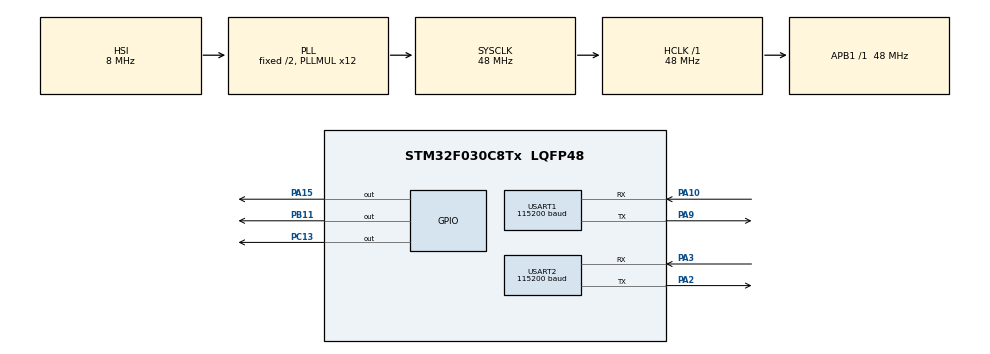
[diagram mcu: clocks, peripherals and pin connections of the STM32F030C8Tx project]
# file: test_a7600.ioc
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Dma.Request0=USART2_RX
Dma.Request1=USART2_TX
Dma.Request2=USART1_RX
Dma.Request3=USART1_TX
Dma.USART1_RX.2.Direction=DMA_PERIPH_TO_MEMORY
Dma.USART1_RX.2.Instance=DMA1_Channel3
Dma.USART1_RX.2.MemDataAlignment=DMA_MDATAALIGN_BYTE
Dma.USART1_RX.2.MemInc=DMA_MINC_ENABLE
Dma.USART1_RX.2.Mode=DMA_CIRCULAR
Dma.USART1_RX.2.PeriphDataAlignment=DMA_PDATAALIGN_BYTE
Dma.USART1_RX.2.PeriphInc=DMA_PINC_DISABLE
Dma.USART1_RX.2.Priority=DMA_PRIORITY_LOW
Dma.USART1_TX.3.Direction=DMA_MEMORY_TO_PERIPH
Dma.USART1_TX.3.Instance=DMA1_Channel2
Dma.USART1_TX.3.MemDataAlignment=DMA_MDATAALIGN_BYTE
Dma.USART1_TX.3.MemInc=DMA_MINC_ENABLE
Dma.USART1_TX.3.Mode=DMA_NORMAL
Dma.USART1_TX.3.PeriphDataAlignment=DMA_PDATAALIGN_BYTE
Dma.USART1_TX.3.PeriphInc=DMA_PINC_DISABLE
Dma.USART1_TX.3.Priority=DMA_PRIORITY_LOW
Dma.USART2_RX.0.Direction=DMA_PERIPH_TO_MEMORY
Dma.USART2_RX.0.Instance=DMA1_Channel5
Dma.USART2_RX.0.MemDataAlignment=DMA_MDATAALIGN_BYTE
Dma.USART2_RX.0.MemInc=DMA_MINC_ENABLE
Dma.USART2_RX.0.Mode=DMA_CIRCULAR
Dma.USART2_RX.0.PeriphDataAlignment=DMA_PDATAALIGN_BYTE
Dma.USART2_RX.0.PeriphInc=DMA_PINC_DISABLE
Dma.USART2_RX.0.Priority=DMA_PRIORITY_HIGH
Dma.USART2_TX.1.Direction=DMA_MEMORY_TO_PERIPH
Dma.USART2_TX.1.Instance=DMA1_Channel4
Dma.USART2_TX.1.MemDataAlignment=DMA_MDATAALIGN_BYTE
Dma.USART2_TX.1.MemInc=DMA_MINC_ENABLE
Dma.USART2_TX.1.Mode=DMA_NORMAL
Dma.USART2_TX.1.PeriphDataAlignment=DMA_PDATAALIGN_BYTE
Dma.USART2_TX.1.PeriphInc=DMA_PINC_DISABLE
Dma.USART2_TX.1.Priority=DMA_PRIORITY_HIGH
IWDG.Prescaler=IWDG_PRESCALER_256
IWDG.Reload=780
Mcu.Family=STM32F0
Mcu.Name=STM32F030C8Tx
Mcu.Package=LQFP48
NVIC.DMA1_Channel2_3_IRQn=true\:0\:0\:false\:false\:true\:false\:true\:true
NVIC.DMA1_Channel4_5_IRQn=true\:1\:0\:true\:false\:true\:false\:true\:true
NVIC.USART1_IRQn=true\:0\:0\:false\:false\:true\:true\:true\:true
NVIC.USART2_IRQn=true\:1\:0\:true\:false\:true\:true\:true\:true
PA10.Mode=Asynchronous
PA10.Signal=USART1_RX
PA13.Mode=Serial_Wire
PA13.Signal=SYS_SWDIO
PA14.Mode=Serial_Wire
PA14.Signal=SYS_SWCLK
PA15.Signal=GPIO_Output
PA2.Mode=Asynchronous
PA2.Signal=USART2_TX
PA3.Mode=Asynchronous
PA3.Signal=USART2_RX
PA9.Mode=Asynchronous
PA9.Signal=USART1_TX
PB11.Signal=GPIO_Output
PC13.Signal=GPIO_Output
PF0-OSC_IN.Mode=HSE-External-Oscillator
PF0-OSC_IN.Signal=RCC_OSC_IN
PF1-OSC_OUT.Mode=HSE-External-Oscillator
PF1-OSC_OUT.Signal=RCC_OSC_OUT
ProjectManager.HeapSize=0x200
ProjectManager.StackSize=0x400
ProjectManager.TargetToolchain=MDK-ARM V5.32
RCC.AHBFreq_Value=48000000
RCC.APB1Freq_Value=48000000
RCC.APB1TimFreq_Value=48000000
RCC.HCLKFreq_Value=48000000
RCC.PLLMUL=RCC_PLL_MUL12
RCC.SYSCLKFreq_VALUE=48000000
RCC.SYSCLKSource=RCC_SYSCLKSOURCE_PLLCLK
USART1.BaudRate=115200
USART1.VirtualMode-Asynchronous=VM_ASYNC
USART2.BaudRate=115200
USART2.VirtualMode-Asynchronous=VM_ASYNC
VP_IWDG_VS_IWDG.Mode=IWDG_Activate
board=custom

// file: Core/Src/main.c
/* USER CODE BEGIN Header */
/**
  ******************************************************************************
  * @file           : main.c
  * @brief          : Main program body
  ******************************************************************************
  * @attention
  *
  * Copyright (c) 2026 STMicroelectronics.
  * All rights reserved.
  *
  * This software is licensed under terms that can be found in the LICENSE file
  * in the root directory of this software component.
  * If no LICENSE file comes with this software, it is provided AS-IS.
  *
  ******************************************************************************
  */
/* USER CODE END Header */
#include "main.h"

/* USER CODE BEGIN Includes */
#include "string.h"
#include "debug_log.h"
#include "uart_dma.h"
#include "app.h"
/* USER CODE END Includes */

IWDG_HandleTypeDef hiwdg;

UART_HandleTypeDef huart1;
UART_HandleTypeDef huart2;
DMA_HandleTypeDef hdma_usart1_rx;
DMA_HandleTypeDef hdma_usart1_tx;
DMA_HandleTypeDef hdma_usart2_rx;
DMA_HandleTypeDef hdma_usart2_tx;

/* USER CODE BEGIN PV */
/* UART DMA handle for A7600 SIM module */
UART_DMA_Handle_t sim_uart;
/* UART DMA handle for Telemetry (MAVLink) */
UART_DMA_Handle_t telem_uart;

/* Application handle */
App_Handle_t app;

/*IWDG Counter*/
uint32_t iwdg_tick = 0;
/* USER CODE END PV */

void SystemClock_Config(void);
static void MX_GPIO_Init(void);
static void MX_DMA_Init(void);
static void MX_USART2_UART_Init(void);
static void MX_IWDG_Init(void);
static void MX_USART1_UART_Init(void);

int main(void)
{

  /* MCU Configuration--------------------------------------------------------*/

  /* Reset of all peripherals, Initializes the Flash interface and the Systick. */
  HAL_Init();

  /* Configure the system clock */
  SystemClock_Config();

  /* Initialize all configured peripherals */
  MX_GPIO_Init();
  MX_DMA_Init();
  MX_USART2_UART_Init();
  MX_IWDG_Init();
  MX_USART1_UART_Init();
  /* USER CODE BEGIN 2 */

  /* Log init (will be empty if disabled) */
  Debug_Init();
  LOG_INFO("System Booting - Wait 5s...");

	GPIOB->ODR &= ~(0x01 << 11);
  GPIOC->ODR &= ~(0x01 << 13);
	GPIOA->ODR &= ~(0x01 << 15);

	HAL_Delay(500);

  HAL_IWDG_Refresh(&hiwdg);
  /* Set GPIO pins high - Power on A7600 module */
  GPIOB->ODR |= (0x01 << 11);
  GPIOC->ODR |= (0x01 << 13);
	GPIOA->ODR |= (0x01 << 15);

  /* Wait for module to boot */
  //HAL_Delay(5000);

  LOG_INFO("Initializing Modules...");

  /* Initialize UART DMA with circular RX for A7600 SIM module */
  UART_DMA_Init(&sim_uart, &huart2);

  /* Initialize Application layer with MQTT */
  App_Init(&app, &sim_uart);

	iwdg_tick = HAL_GetTick();
  /* USER CODE END 2 */

  /* Infinite loop */
  /* USER CODE BEGIN WHILE */

  while (1)
  {
    /* Run application - handles MQTT connection, publishing, etc */
    App_Run(&app);
		if(HAL_GetTick() - iwdg_tick >= 1000)
		{
			HAL_IWDG_Refresh(&hiwdg);
			iwdg_tick = HAL_GetTick();
		}
    /* USER CODE END WHILE */

  }
}

void SystemClock_Config(void)
{
  RCC_OscInitTypeDef RCC_OscInitStruct = {0};
  RCC_ClkInitTypeDef RCC_ClkInitStruct = {0};
  RCC_PeriphCLKInitTypeDef PeriphClkInit = {0};

  /** Initializes the RCC Oscillators according to the specified parameters
  * in the RCC_OscInitTypeDef structure.
  */
  RCC_OscInitStruct.OscillatorType = RCC_OSCILLATORTYPE_HSI|RCC_OSCILLATORTYPE_LSI;
  RCC_OscInitStruct.HSIState = RCC_HSI_ON;
  RCC_OscInitStruct.HSICalibrationValue = RCC_HSICALIBRATION_DEFAULT;
  RCC_OscInitStruct.LSIState = RCC_LSI_ON;
  RCC_OscInitStruct.PLL.PLLState = RCC_PLL_ON;
  RCC_OscInitStruct.PLL.PLLSource = RCC_PLLSOURCE_HSI;
  RCC_OscInitStruct.PLL.PLLMUL = RCC_PLL_MUL12;
  RCC_OscInitStruct.PLL.PREDIV = RCC_PREDIV_DIV1;
  if (HAL_RCC_OscConfig(&RCC_OscInitStruct) != HAL_OK)
  {
    Error_Handler();
  }

  /** Initializes the CPU, AHB and APB buses clocks
  */
  RCC_ClkInitStruct.ClockType = RCC_CLOCKTYPE_HCLK|RCC_CLOCKTYPE_SYSCLK
                              |RCC_CLOCKTYPE_PCLK1;
  RCC_ClkInitStruct.SYSCLKSource = RCC_SYSCLKSOURCE_PLLCLK;
  RCC_ClkInitStruct.AHBCLKDivider = RCC_SYSCLK_DIV1;
  RCC_ClkInitStruct.APB1CLKDivider = RCC_HCLK_DIV1;

  if (HAL_RCC_ClockConfig(&RCC_ClkInitStruct, FLASH_LATENCY_1) != HAL_OK)
  {
    Error_Handler();
  }
  PeriphClkInit.PeriphClockSelection = RCC_PERIPHCLK_USART1;
  PeriphClkInit.Usart1ClockSelection = RCC_USART1CLKSOURCE_PCLK1;
  if (HAL_RCCEx_PeriphCLKConfig(&PeriphClkInit) != HAL_OK)
  {
    Error_Handler();
  }
}

static void MX_IWDG_Init(void)
{

  hiwdg.Instance = IWDG;
  hiwdg.Init.Prescaler = IWDG_PRESCALER_256;
  hiwdg.Init.Window = 4095;
  hiwdg.Init.Reload = 780;
  if (HAL_IWDG_Init(&hiwdg) != HAL_OK)
  {
    Error_Handler();
  }

}

static void MX_USART1_UART_Init(void)
{

  huart1.Instance = USART1;
  huart1.Init.BaudRate = 115200;
  huart1.Init.WordLength = UART_WORDLENGTH_8B;
  huart1.Init.StopBits = UART_STOPBITS_1;
  huart1.Init.Parity = UART_PARITY_NONE;
  huart1.Init.Mode = UART_MODE_TX_RX;
  huart1.Init.HwFlowCtl = UART_HWCONTROL_NONE;
  huart1.Init.OverSampling = UART_OVERSAMPLING_16;
  huart1.Init.OneBitSampling = UART_ONE_BIT_SAMPLE_DISABLE;
  huart1.AdvancedInit.AdvFeatureInit = UART_ADVFEATURE_NO_INIT;
  if (HAL_UART_Init(&huart1) != HAL_OK)
  {
    Error_Handler();
  }

}

static void MX_USART2_UART_Init(void)
{

  huart2.Instance = USART2;
  huart2.Init.BaudRate = 115200;
  huart2.Init.WordLength = UART_WORDLENGTH_8B;
  huart2.Init.StopBits = UART_STOPBITS_1;
  huart2.Init.Parity = UART_PARITY_NONE;
  huart2.Init.Mode = UART_MODE_TX_RX;
  huart2.Init.HwFlowCtl = UART_HWCONTROL_NONE;
  huart2.Init.OverSampling = UART_OVERSAMPLING_16;
  huart2.Init.OneBitSampling = UART_ONE_BIT_SAMPLE_DISABLE;
  huart2.AdvancedInit.AdvFeatureInit = UART_ADVFEATURE_NO_INIT;
  if (HAL_UART_Init(&huart2) != HAL_OK)
  {
    Error_Handler();
  }

}

static void MX_DMA_Init(void)
{

  /* DMA controller clock enable */
  __HAL_RCC_DMA1_CLK_ENABLE();

  /* DMA interrupt init */
  /* DMA1_Channel2_3_IRQn interrupt configuration */
  HAL_NVIC_SetPriority(DMA1_Channel2_3_IRQn, 0, 0);
  HAL_NVIC_EnableIRQ(DMA1_Channel2_3_IRQn);
  /* DMA1_Channel4_5_IRQn interrupt configuration */
  HAL_NVIC_SetPriority(DMA1_Channel4_5_IRQn, 1, 0);
  HAL_NVIC_EnableIRQ(DMA1_Channel4_5_IRQn);

}

static void MX_GPIO_Init(void)
{
  GPIO_InitTypeDef GPIO_InitStruct = {0};

  /* GPIO Ports Clock Enable */
  __HAL_RCC_GPIOC_CLK_ENABLE();
  __HAL_RCC_GPIOF_CLK_ENABLE();
  __HAL_RCC_GPIOA_CLK_ENABLE();
  __HAL_RCC_GPIOB_CLK_ENABLE();

  /*Configure GPIO pin Output Level */
  HAL_GPIO_WritePin(GPIOC, GPIO_PIN_13, GPIO_PIN_RESET);

  /*Configure GPIO pin Output Level */
  HAL_GPIO_WritePin(GPIOB, GPIO_PIN_11, GPIO_PIN_RESET);

  /*Configure GPIO pin Output Level */
  HAL_GPIO_WritePin(GPIOA, GPIO_PIN_15, GPIO_PIN_RESET);

  /*Configure GPIO pin : PC13 */
  GPIO_InitStruct.Pin = GPIO_PIN_13;
  GPIO_InitStruct.Mode = GPIO_MODE_OUTPUT_PP;
  GPIO_InitStruct.Pull = GPIO_NOPULL;
  GPIO_InitStruct.Speed = GPIO_SPEED_FREQ_LOW;
  HAL_GPIO_Init(GPIOC, &GPIO_InitStruct);

  /*Configure GPIO pin : PB11 */
  GPIO_InitStruct.Pin = GPIO_PIN_11;
  GPIO_InitStruct.Mode = GPIO_MODE_OUTPUT_PP;
  GPIO_InitStruct.Pull = GPIO_NOPULL;
  GPIO_InitStruct.Speed = GPIO_SPEED_FREQ_LOW;
  HAL_GPIO_Init(GPIOB, &GPIO_InitStruct);

  /*Configure GPIO pin : PA15 */
  GPIO_InitStruct.Pin = GPIO_PIN_15;
  GPIO_InitStruct.Mode = GPIO_MODE_OUTPUT_PP;
  GPIO_InitStruct.Pull = GPIO_NOPULL;
  GPIO_InitStruct.Speed = GPIO_SPEED_FREQ_LOW;
  HAL_GPIO_Init(GPIOA, &GPIO_InitStruct);

}

/* USER CODE BEGIN 4 */

/**
 * @brief TX Complete callback - called by HAL when DMA TX finishes
 */
void HAL_UART_TxCpltCallback(UART_HandleTypeDef *huart)
{
    if (huart->Instance == USART2) {
        UART_DMA_TxCplt_Callback(&sim_uart);
    }
    if (huart->Instance == USART1) {
        UART_DMA_TxCplt_Callback(&telem_uart);
    }
    /* #ifdef DEBUG_ENABLE ... Removed for Telem */
}

/* USER CODE END 4 */

void Error_Handler(void)
{
  __disable_irq();
  while (1)
  {
  }
}
